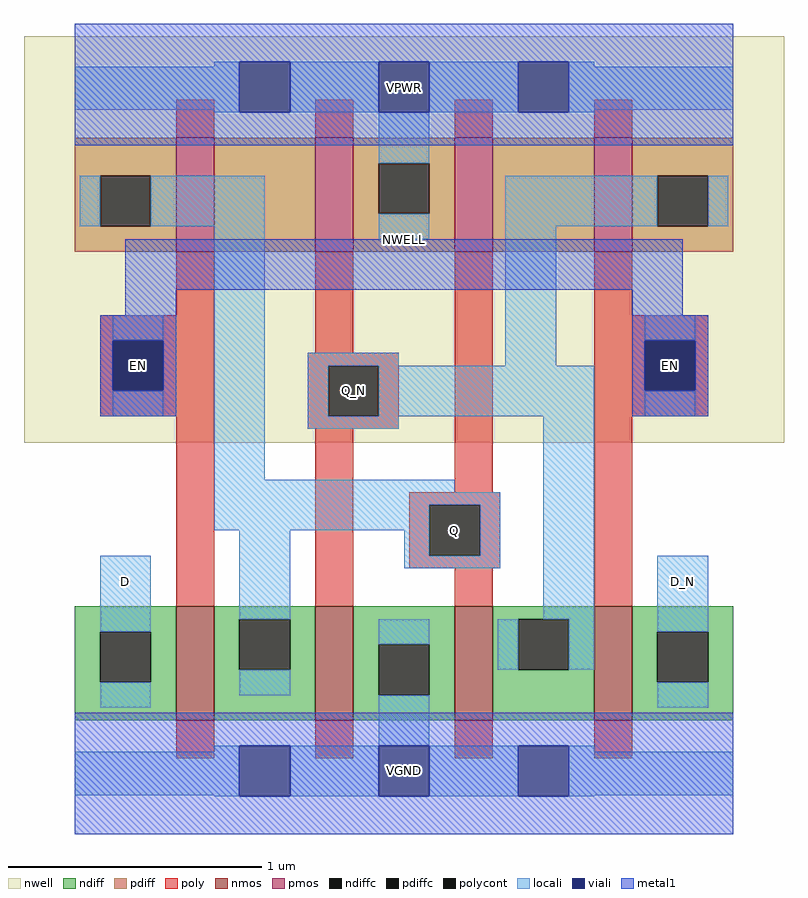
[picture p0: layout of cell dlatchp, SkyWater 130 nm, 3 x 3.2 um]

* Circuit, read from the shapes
.subckt dlatchp D D_N EN NWELL Q Q_N VGND VPWR
XM1 Q EN D VSUBS sky130_fd_pr__nfet_01v8 w=0.45 l=0.15
XM2 VGND Q_N Q VSUBS sky130_fd_pr__nfet_01v8 w=0.45 l=0.15
XM3 Q_N Q VGND VSUBS sky130_fd_pr__nfet_01v8 w=0.45 l=0.15
XM4 D_N EN Q_N VSUBS sky130_fd_pr__nfet_01v8 w=0.45 l=0.15
XM5 n1 EN Q NWELL sky130_fd_pr__pfet_01v8 w=0.45 l=0.15
XM6 VPWR Q_N n1 NWELL sky130_fd_pr__pfet_01v8 w=0.45 l=0.15
XM7 n2 Q VPWR NWELL sky130_fd_pr__pfet_01v8 w=0.45 l=0.15
XM8 Q_N EN n2 NWELL sky130_fd_pr__pfet_01v8 w=0.45 l=0.15
.ends

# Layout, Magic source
magic
tech sky130A
magscale 1 2
<< nwell >>
rect -300 309 300 630
<< nmos >>
rect -180 90 -150 180
rect -70 90 -40 180
rect 40 90 70 180
rect 150 90 180 180
<< pmos >>
rect -180 460 -150 550
rect -70 460 -40 550
rect 40 460 70 550
rect 150 460 180 550
<< ndiff >>
rect -260 160 -180 180
rect -260 120 -240 160
rect -200 120 -180 160
rect -260 90 -180 120
rect -150 170 -70 180
rect -150 130 -130 170
rect -90 130 -70 170
rect -150 90 -70 130
rect -40 150 40 180
rect -40 110 -20 150
rect 20 110 40 150
rect -40 90 40 110
rect 70 170 150 180
rect 70 130 90 170
rect 130 130 150 170
rect 70 90 150 130
rect 180 160 260 180
rect 180 120 200 160
rect 240 120 260 160
rect 180 90 260 120
<< pdiff >>
rect -260 520 -180 550
rect -260 480 -240 520
rect -200 480 -180 520
rect -260 460 -180 480
rect -150 460 -70 550
rect -40 530 40 550
rect -40 490 -20 530
rect 20 490 40 530
rect -40 460 40 490
rect 70 460 150 550
rect 180 520 260 550
rect 180 480 200 520
rect 240 480 260 520
rect 180 460 260 480
<< ndiffc >>
rect -240 120 -200 160
rect -130 130 -90 170
rect -20 110 20 150
rect 90 130 130 170
rect 200 120 240 160
<< pdiffc >>
rect -240 480 -200 520
rect -20 490 20 530
rect 200 480 240 520
<< poly >>
rect -180 550 -150 580
rect -70 550 -40 580
rect 40 550 70 580
rect 150 550 180 580
rect -180 410 -150 460
rect -240 390 -150 410
rect -240 350 -230 390
rect -190 350 -150 390
rect -70 380 -40 460
rect -240 330 -150 350
rect -180 180 -150 330
rect -76 370 -4 380
rect -76 330 -60 370
rect -20 330 -4 370
rect -76 320 -4 330
rect -70 180 -40 320
rect 40 270 70 460
rect 150 410 180 460
rect 150 390 240 410
rect 150 350 190 390
rect 230 350 240 390
rect 150 330 240 350
rect 4 260 76 270
rect 4 220 20 260
rect 60 220 76 260
rect 4 210 76 220
rect 40 180 70 210
rect 150 180 180 330
rect -180 60 -150 90
rect -70 60 -40 90
rect 40 60 70 90
rect 150 60 180 90
<< polycont >>
rect -230 350 -190 390
rect -60 330 -20 370
rect 190 350 230 390
rect 20 220 60 260
<< locali >>
rect -150 606 -130 610
rect -260 572 -130 606
rect -150 570 -130 572
rect -90 570 -20 610
rect 20 570 90 610
rect 130 606 150 610
rect 130 572 260 606
rect 130 570 150 572
rect -20 530 20 570
rect -256 480 -240 520
rect -200 480 -110 520
rect -230 390 -190 410
rect -230 330 -190 350
rect -150 280 -110 480
rect -20 470 20 490
rect 80 480 200 520
rect 240 480 256 520
rect -76 370 -4 380
rect 80 370 120 480
rect 190 390 230 410
rect -76 330 -60 370
rect -20 330 150 370
rect 190 330 230 350
rect -76 320 -4 330
rect -150 270 40 280
rect -150 260 76 270
rect -150 240 20 260
rect -240 160 -200 220
rect -240 100 -200 120
rect -130 170 -90 240
rect 0 220 20 240
rect 60 220 76 260
rect 0 210 76 220
rect 110 170 150 330
rect -130 110 -90 130
rect -20 150 20 170
rect 74 130 90 170
rect 130 130 150 170
rect 200 160 240 220
rect -20 70 20 110
rect 200 100 240 120
rect -150 65 -130 70
rect -260 31 -130 65
rect -150 30 -130 31
rect -90 30 -20 70
rect 20 30 90 70
rect 130 65 150 70
rect 130 31 260 65
rect 130 30 150 31
<< viali >>
rect -130 570 -90 610
rect -20 570 20 610
rect 90 570 130 610
rect -230 350 -190 390
rect 190 350 230 390
rect -130 30 -90 70
rect -20 30 20 70
rect 90 30 130 70
<< metal1 >>
rect -260 610 260 640
rect -260 570 -130 610
rect -90 570 -20 610
rect 20 570 90 610
rect 130 570 260 610
rect -260 544 260 570
rect -220 430 220 470
rect -220 410 -180 430
rect -240 390 -180 410
rect -240 350 -230 390
rect -190 350 -180 390
rect -240 330 -180 350
rect 180 410 220 430
rect 180 390 240 410
rect 180 350 190 390
rect 230 350 240 390
rect 180 330 240 350
rect -260 70 260 96
rect -260 30 -130 70
rect -90 30 -20 70
rect 20 30 90 70
rect 130 30 260 70
rect -260 0 260 30
<< labels >>
rlabel metal1 180 330 240 410 0 EN
rlabel metal1 -240 330 -180 410 0 EN
rlabel locali 20 220 60 260 0 Q
rlabel locali -60 330 -20 370 0 Q_N
rlabel locali 200 180 240 220 0 D_N
rlabel locali -240 180 -200 220 0 D
rlabel nwell -300 309 300 630 1 NWELL
rlabel viali -20 570 20 610 1 VPWR
rlabel viali -20 30 20 70 1 VGND
<< end >>
